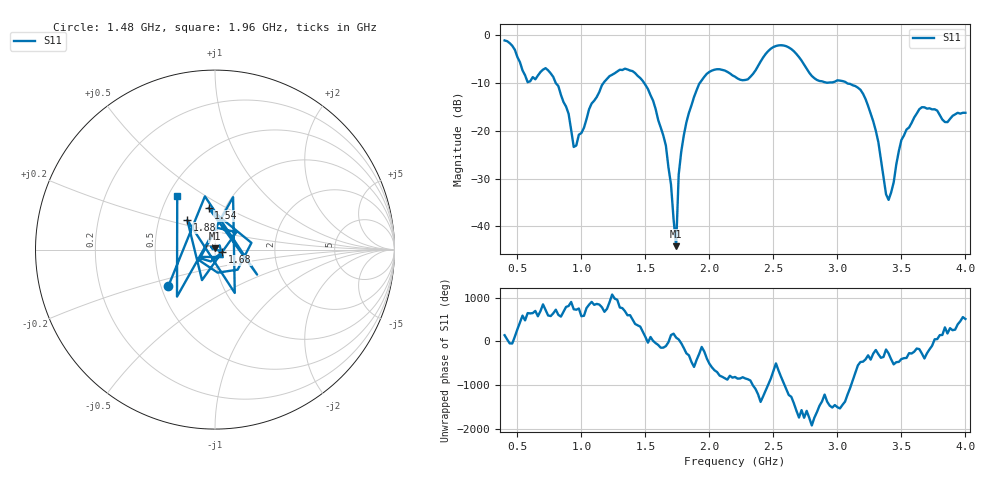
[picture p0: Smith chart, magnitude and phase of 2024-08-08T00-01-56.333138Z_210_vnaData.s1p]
!Created with skrf (http://scikit-rf.org).
# Hz S RI R 50.0
!freq ReS11 ImS11
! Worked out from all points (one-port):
!   181 points, 400 MHz to 4 GHz, reference 50 ohm
!   lowest |S11| = -44.1 dB at 1.74 GHz (marker M1), VSWR 1.01, Z = 50 + j0.62 ohm
!   |S11| at or under -10 dB: 799.4 MHz to 1.173 GHz (373.6 MHz wide, 37.9 % of centre); 1.49 GHz to 1.925 GHz (435.4 MHz wide, 25.5 % of centre); 3.073 GHz to end of sweep
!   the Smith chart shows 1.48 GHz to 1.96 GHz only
!   S11 on the Smith chart (normalised r, x): 1.48 GHz: 0.55, -0.25; 1.54 GHz: 0.84, +0.41; 1.68 GHz: 1.08, -0.03; 1.88 GHz: 0.70, +0.24; 1.96 GHz: 0.56, +0.39
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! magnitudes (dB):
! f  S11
! 400 MHz  -1.1
! 580 MHz  -9.8
! 720 MHz  -6.9
! 860 MHz  -14.0
! 960 MHz  -23.1
! 1.16 GHz  -10.5
! 1.3 GHz  -7.2
! 1.48 GHz  -9.6
! 1.54 GHz  -12.6
! 1.68 GHz  -27.7
! 1.74 GHz  -44.1
! 1.76 GHz  -29.2
! 1.8 GHz  -21.0
! 1.88 GHz  -12.9
! 1.96 GHz  -8.7
! 2.2 GHz  -8.7
! 2.3 GHz  -9.3
! 2.5 GHz  -2.5
! 2.66 GHz  -3.4
! 2.84 GHz  -9.4
! 3.1 GHz  -10.2
! 3.28 GHz  -18.0
! 3.4 GHz  -34.5
! 3.5 GHz  -21.9
! 3.56 GHz  -19.3
! 3.66 GHz  -15.1
! 3.84 GHz  -18.2
! 4 GHz  -16.2
